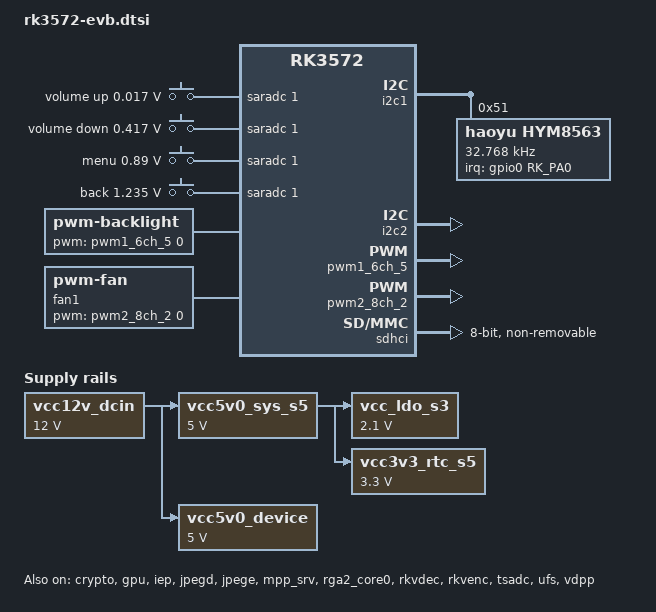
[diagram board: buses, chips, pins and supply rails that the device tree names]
// SPDX-License-Identifier: (GPL-2.0+ OR MIT)
/*
 * Copyright (c) 2025 Rockchip Electronics Co., Ltd.
 */
#include <dt-bindings/display/drm_mipi_dsi.h>
#include <dt-bindings/display/rockchip_vop.h>
#include <dt-bindings/gpio/gpio.h>
#include <dt-bindings/input/rk-input.h>
#include <dt-bindings/pinctrl/rockchip.h>
#include <dt-bindings/pwm/pwm.h>
#include <dt-bindings/sensor-dev.h>

/ {
	adc_keys: adc-keys {
		compatible = "adc-keys";
		io-channels = <&saradc 1>;
		io-channel-names = "buttons";
		keyup-threshold-microvolt = <1800000>;
		poll-interval = <100>;

		vol-up-key {
			label = "volume up";
			linux,code = <KEY_VOLUMEUP>;
			press-threshold-microvolt = <17000>;
		};

		vol-down-key {
			label = "volume down";
			linux,code = <KEY_VOLUMEDOWN>;
			press-threshold-microvolt = <417000>;
		};

		menu-key {
			label = "menu";
			linux,code = <KEY_MENU>;
			press-threshold-microvolt = <890000>;
		};

		back-key {
			label = "back";
			linux,code = <KEY_BACK>;
			press-threshold-microvolt = <1235000>;
		};
	};

	backlight: backlight {
		compatible = "pwm-backlight";
		pwms = <&pwm1_6ch_5 0 25000 0>;
		brightness-levels = <
			  0  20  20  21  21  22  22  23
			 23  24  24  25  25  26  26  27
			 27  28  28  29  29  30  30  31
			 31  32  32  33  33  34  34  35
			 35  36  36  37  37  38  38  39
			 40  41  42  43  44  45  46  47
			 48  49  50  51  52  53  54  55
			 56  57  58  59  60  61  62  63
			 64  65  66  67  68  69  70  71
			 72  73  74  75  76  77  78  79
			 80  81  82  83  84  85  86  87
			 88  89  90  91  92  93  94  95
			 96  97  98  99 100 101 102 103
			104 105 106 107 108 109 110 111
			112 113 114 115 116 117 118 119
			120 121 122 123 124 125 126 127
			128 129 130 131 132 133 134 135
			136 137 138 139 140 141 142 143
			144 145 146 147 148 149 150 151
			152 153 154 155 156 157 158 159
			160 161 162 163 164 165 166 167
			168 169 170 171 172 173 174 175
			176 177 178 179 180 181 182 183
			184 185 186 187 188 189 190 191
			192 193 194 195 196 197 198 199
			200 201 202 203 204 205 206 207
			208 209 210 211 212 213 214 215
			216 217 218 219 220 221 222 223
			224 225 226 227 228 229 230 231
			232 233 234 235 236 237 238 239
			240 241 242 243 244 245 246 247
			248 249 250 251 252 253 254 255
		>;
		default-brightness-level = <200>;
	};

	fan1 {
		compatible = "pwm-fan";
		pwms = <&pwm2_8ch_2 0 40000 0>;
		cooling-levels = <0 80 170 255>;
	};

	leds: leds {
		status = "disabled";
		compatible = "gpio-leds";
		work_led: work {
			gpios = <&gpio0 RK_PC3 GPIO_ACTIVE_HIGH>;
			linux,default-trigger = "heartbeat";
		};
	};

	test-power {
		status = "okay";
	};

	vcc12v_dcin: vcc12v-dcin {
		compatible = "regulator-fixed";
		regulator-name = "vcc12v_dcin";
		regulator-always-on;
		regulator-boot-on;
		regulator-min-microvolt = <12000000>;
		regulator-max-microvolt = <12000000>;
	};

	vcc5v0_sys_s5: vcc5v0-sys {
		compatible = "regulator-fixed";
		regulator-name = "vcc5v0_sys_s5";
		regulator-always-on;
		regulator-boot-on;
		regulator-min-microvolt = <5000000>;
		regulator-max-microvolt = <5000000>;
		vin-supply = <&vcc12v_dcin>;
	};

	vcc5v0_device: vcc5v0-device {
		compatible = "regulator-fixed";
		regulator-name = "vcc5v0_device";
		regulator-always-on;
		regulator-boot-on;
		regulator-min-microvolt = <5000000>;
		regulator-max-microvolt = <5000000>;
		vin-supply = <&vcc12v_dcin>;
	};

	vcc_ldo_s3: vcc-ldo-s3 {
		compatible = "regulator-fixed";
		regulator-name = "vcc_ldo_s3";
		regulator-boot-on;
		regulator-always-on;
		regulator-min-microvolt = <2100000>;
		regulator-max-microvolt = <2100000>;
		vin-supply = <&vcc5v0_sys_s5>;
	};

	vcc3v3_rtc_s5: vcc3v3-rtc-s5 {
		compatible = "regulator-fixed";
		regulator-name = "vcc3v3_rtc_s5";
		regulator-boot-on;
		regulator-always-on;
		regulator-min-microvolt = <3300000>;
		regulator-max-microvolt = <3300000>;
		vin-supply = <&vcc5v0_sys_s5>;
	};
};

&crypto {
	status = "okay";
};

&gpu {
	status = "okay";
};

&i2c1 {
	status = "okay";

	hym8563: hym8563@51 {
		compatible = "haoyu,hym8563";
		reg = <0x51>;
		#clock-cells = <0>;
		clock-frequency = <32768>;
		clock-output-names = "hym8563";
		pinctrl-names = "default";
		pinctrl-0 = <&hym8563_int>;
		interrupt-parent = <&gpio0>;
		interrupts = <RK_PA0 IRQ_TYPE_LEVEL_LOW>;
		wakeup-source;
	};
};

&i2c2 {
	pinctrl-0 = <&i2c2m1_xfer_pins>;
	status = "okay";

	gt1x: gt1x@14 {
		status = "disabled";
		compatible = "goodix,gt1x";
		reg = <0x14>;
		pinctrl-names = "default";
		pinctrl-0 = <&touch_gpio>;
		goodix,rst-gpio = <&gpio0 RK_PD0 GPIO_ACTIVE_HIGH>;
		goodix,irq-gpio = <&gpio0 RK_PC5 IRQ_TYPE_LEVEL_LOW>;
	};

	hynitron: hynitron@5a {
		status = "disabled";
		compatible = "hyn,3240";
		reg = <0x5a>;

		pinctrl-names = "ts_active","ts_suspend";
		pinctrl-0 = <&ts_int_active &ts_reset_active>;
		pinctrl-1 = <&ts_int_suspend &ts_reset_suspend>;

		reset-gpios = <&gpio0 RK_PD0 GPIO_ACTIVE_HIGH>;
		irq-gpios = <&gpio0 RK_PC5 GPIO_ACTIVE_LOW>;

		max-touch-number = <5>;
		display-coords = <0 0 1080 1920>;
		pos-swap = <0>;
		posx-reverse = <0>;
		posy-reverse = <0>;
	};
};

&iep {
	status = "okay";
};

&iep_mmu {
	status = "okay";
};

&jpegd {
	status = "okay";
};

&jpege {
	status = "okay";
};

&jpeg_mmu {
	status = "okay";
};

&mpp_srv {
	status = "okay";
};

&pinctrl {
	hym8563 {
		hym8563_int: hym8563-int {
			rockchip,pins = <0 RK_PA0 RK_FUNC_GPIO &pcfg_pull_up>;
		};
	};

	touch {
		touch_gpio: touch-gpio {
			rockchip,pins =
				<0 RK_PD0 RK_FUNC_GPIO &pcfg_pull_up>,
				<0 RK_PC5 RK_FUNC_GPIO &pcfg_pull_up>;
		};

		ts_int_active: ts_int_active {
			rockchip,pins = <0 RK_PC5 RK_FUNC_GPIO &pcfg_pull_up>;
		};

		ts_reset_active: ts_reset_active {
			rockchip,pins = <0 RK_PD0 RK_FUNC_GPIO &pcfg_pull_up>;
		};

		ts_int_suspend: ts_int_suspend {
			rockchip,pins = <0 RK_PC5 RK_FUNC_GPIO &pcfg_pull_down>;
		};

		ts_reset_suspend: ts_reset_suspend {
			rockchip,pins = <0 RK_PD0 RK_FUNC_GPIO &pcfg_pull_down>;
		};
	};
};

&pwm1_6ch_5 {
	status = "okay";
	pinctrl-0 = <&pwm1m0_ch5_pins>;
};

&pwm2_8ch_2 {
	status = "okay";
	pinctrl-0 = <&pwm2m2_ch2_pins>;
};

&rga2_core0 {
	status = "okay";
};

&rga2_core0_mmu {
	status = "okay";
};

&rkvdec {
	status = "okay";
};

&rkvdec_mmu {
	status = "okay";
};

&rkvenc {
	status = "okay";
};

&rkvenc_mmu {
	status = "okay";
};

&sdhci {
	bus-width = <8>;
	no-sdio;
	no-sd;
	non-removable;
	max-frequency = <200000000>;
	mmc-hs400-1_8v;
	mmc-hs400-enhanced-strobe;
	full-pwr-cycle-in-suspend;
	status = "okay";
};

&tsadc {
	status = "okay";
};

&ufs {
	reset-gpios = <&gpio4 RK_PC0 GPIO_ACTIVE_HIGH>;
	status = "okay";
};

&vdpp {
	status = "okay";
};
